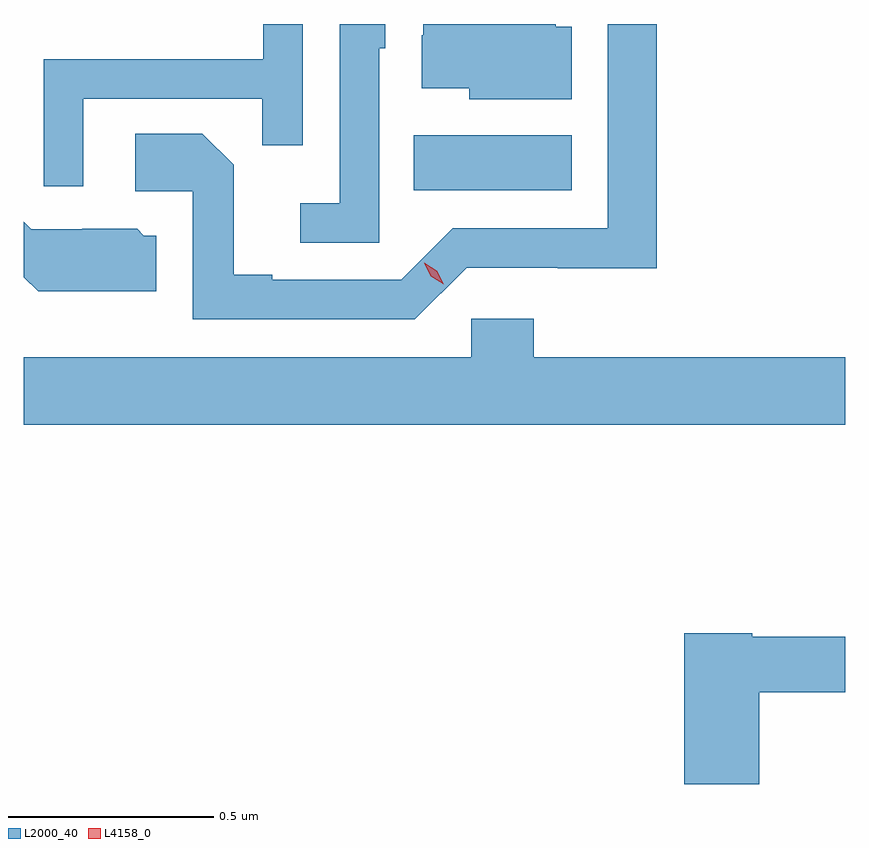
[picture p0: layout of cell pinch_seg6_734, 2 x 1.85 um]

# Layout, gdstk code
import gdstk
lib = gdstk.Library(unit=1e-6, precision=1e-09)
def R(c, l, rs):  # rectangles x0, y0, x1, y1
    for r in rs: c.add(gdstk.rectangle(r[:2], r[2:], *l))
def P(c, l, *ps):  # polygons
    for p in ps: c.add(gdstk.Polygon(p, *l))
L2000_40 = (2000, 40)
L4158_0 = (4158, 0)

pinch_seg6_734 = lib.new_cell('pinch_seg6_734')
R(pinch_seg6_734, L2000_40, [(623.326,947.906,623.71,948.04)])
P(pinch_seg6_734, L2000_40, [(623.454,947.718),(623.676,947.718),(623.676,947.717),(623.917,947.717),(623.917,948.311),(623.798,948.311),(623.798,947.814),(623.421,947.814),(623.295,947.688),(622.981,947.688),(622.981,947.701),(622.887,947.701),(622.887,947.968),(622.811,948.044),(622.647,948.044),(622.647,947.904),(622.788,947.904),(622.788,947.592),(623.328,947.592)],
  [(623.241,948.252),(623.256,948.252),(623.256,948.311),(623.145,948.311),(623.145,947.875),(623.049,947.875),(623.049,947.778),(623.241,947.778)],
  [(622.521,948.129),(622.957,948.129),(622.957,948.016),(623.055,948.016),(623.055,948.311),(622.959,948.311),(622.959,948.225),(622.425,948.225),(622.425,947.916),(622.521,947.916)],
  [(623.71,948.304),(623.671,948.304),(623.671,948.311),(623.349,948.311),(623.349,948.284),(623.345,948.284),(623.345,948.155),(623.46,948.155),(623.46,948.128),(623.71,948.128)],
  [(622.699,947.796),(622.668,947.796),(622.652,947.812),(622.518,947.812),(622.518,947.811),(622.395,947.811),(622.376,947.83),(622.376,947.695),(622.411,947.66),(622.699,947.66)],
  [(624.376,947.5),(623.618,947.5),(623.618,947.593),(623.466,947.593),(623.466,947.5),(622.376,947.5),(622.376,947.336),(624.376,947.336)],
  [(624.167,946.684),(624.376,946.684),(624.376,946.82),(624.15,946.82),(624.15,946.828),(623.984,946.828),(623.984,946.461),(624.167,946.461)])
P(pinch_seg6_734, L4158_0, [(623.398,947.677),(623.367,947.697),(623.351,947.73),(623.351,947.73),(623.351,947.73),(623.382,947.71),(623.399,947.678),(623.399,947.677)])

lib.write_gds('pinch_seg6_734.gds')
